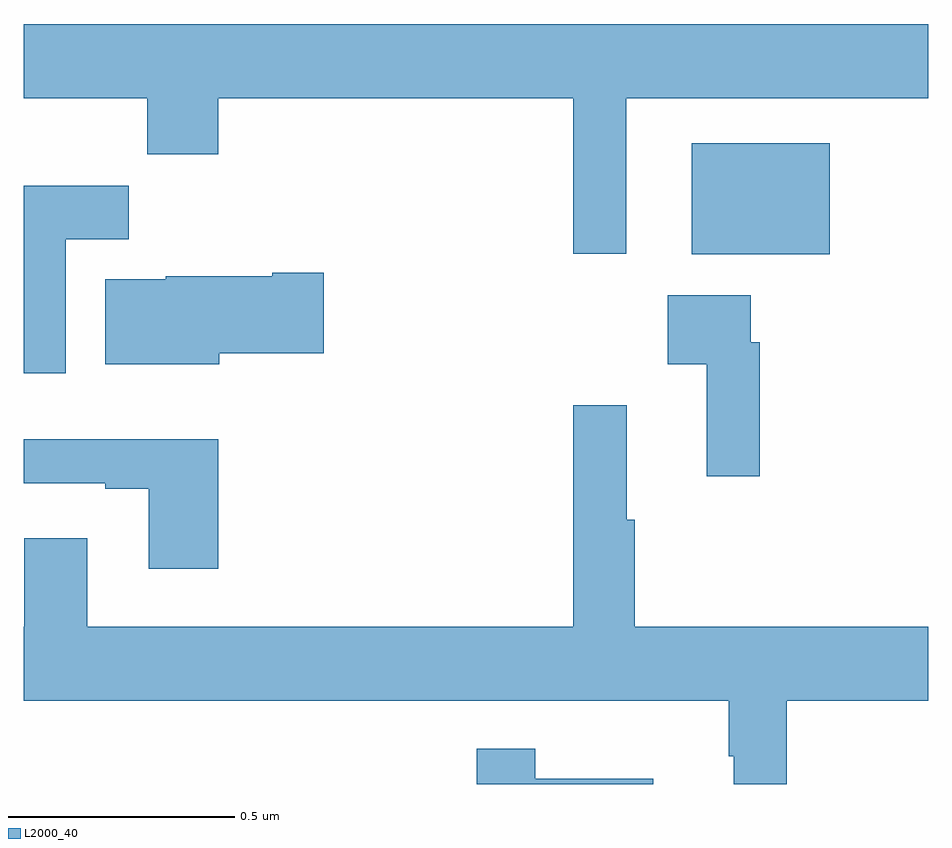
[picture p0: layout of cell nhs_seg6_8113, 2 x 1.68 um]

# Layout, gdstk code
import gdstk
lib = gdstk.Library(unit=1e-6, precision=1e-09)
def R(c, l, rs):  # rectangles x0, y0, x1, y1
    for r in rs: c.add(gdstk.rectangle(r[:2], r[2:], *l))
def P(c, l, *ps):  # polygons
    for p in ps: c.add(gdstk.Polygon(p, *l))
L2000_40 = (2000, 40)

nhs_seg6_8113 = lib.new_cell('nhs_seg6_8113')
R(nhs_seg6_8113, L2000_40, [(218.477,933.671,218.782,933.916)])
P(nhs_seg6_8113, L2000_40, [(218.332,934.016),(219,934.016),(219,934.18),(217,934.18),(217,934.016),(217.273,934.016),(217.273,933.892),(217.43,933.892),(217.43,934.016),(218.215,934.016),(218.215,933.672),(218.332,933.672)],
  [(217.093,933.704),(217.232,933.704),(217.232,933.823),(217,933.823),(217,933.408),(217.093,933.408)],
  [(217.432,933.452),(217.663,933.452),(217.663,933.63),(217.55,933.63),(217.55,933.622),(217.314,933.622),(217.314,933.616),(217.181,933.616),(217.181,933.428),(217.432,933.428)],
  [(218.627,933.476),(218.607,933.476),(218.607,933.58),(218.424,933.58),(218.424,933.428),(218.51,933.428),(218.51,933.18),(218.627,933.18)],
  [(217.43,933.262),(217,933.262),(217,933.165),(217.181,933.165),(217.181,933.153),(217.277,933.153),(217.277,932.976),(217.43,932.976)],
  [(218.351,933.084),(218.333,933.084),(218.333,933.337),(218.215,933.337),(218.215,932.848),(217.141,932.848),(217.141,933.043),(217.001,933.043),(217.001,932.848),(217,932.848),(217,932.684),(218.559,932.684),(218.559,932.561),(218.57,932.561),(218.57,932.5),(218.687,932.5),(218.687,932.684),(219,932.684),(219,932.848),(218.351,932.848)],
  [(218.392,932.512),(218.131,932.512),(218.131,932.578),(218.002,932.578),(218.002,932.5),(218.392,932.5)])

lib.write_gds('nhs_seg6_8113.gds')
